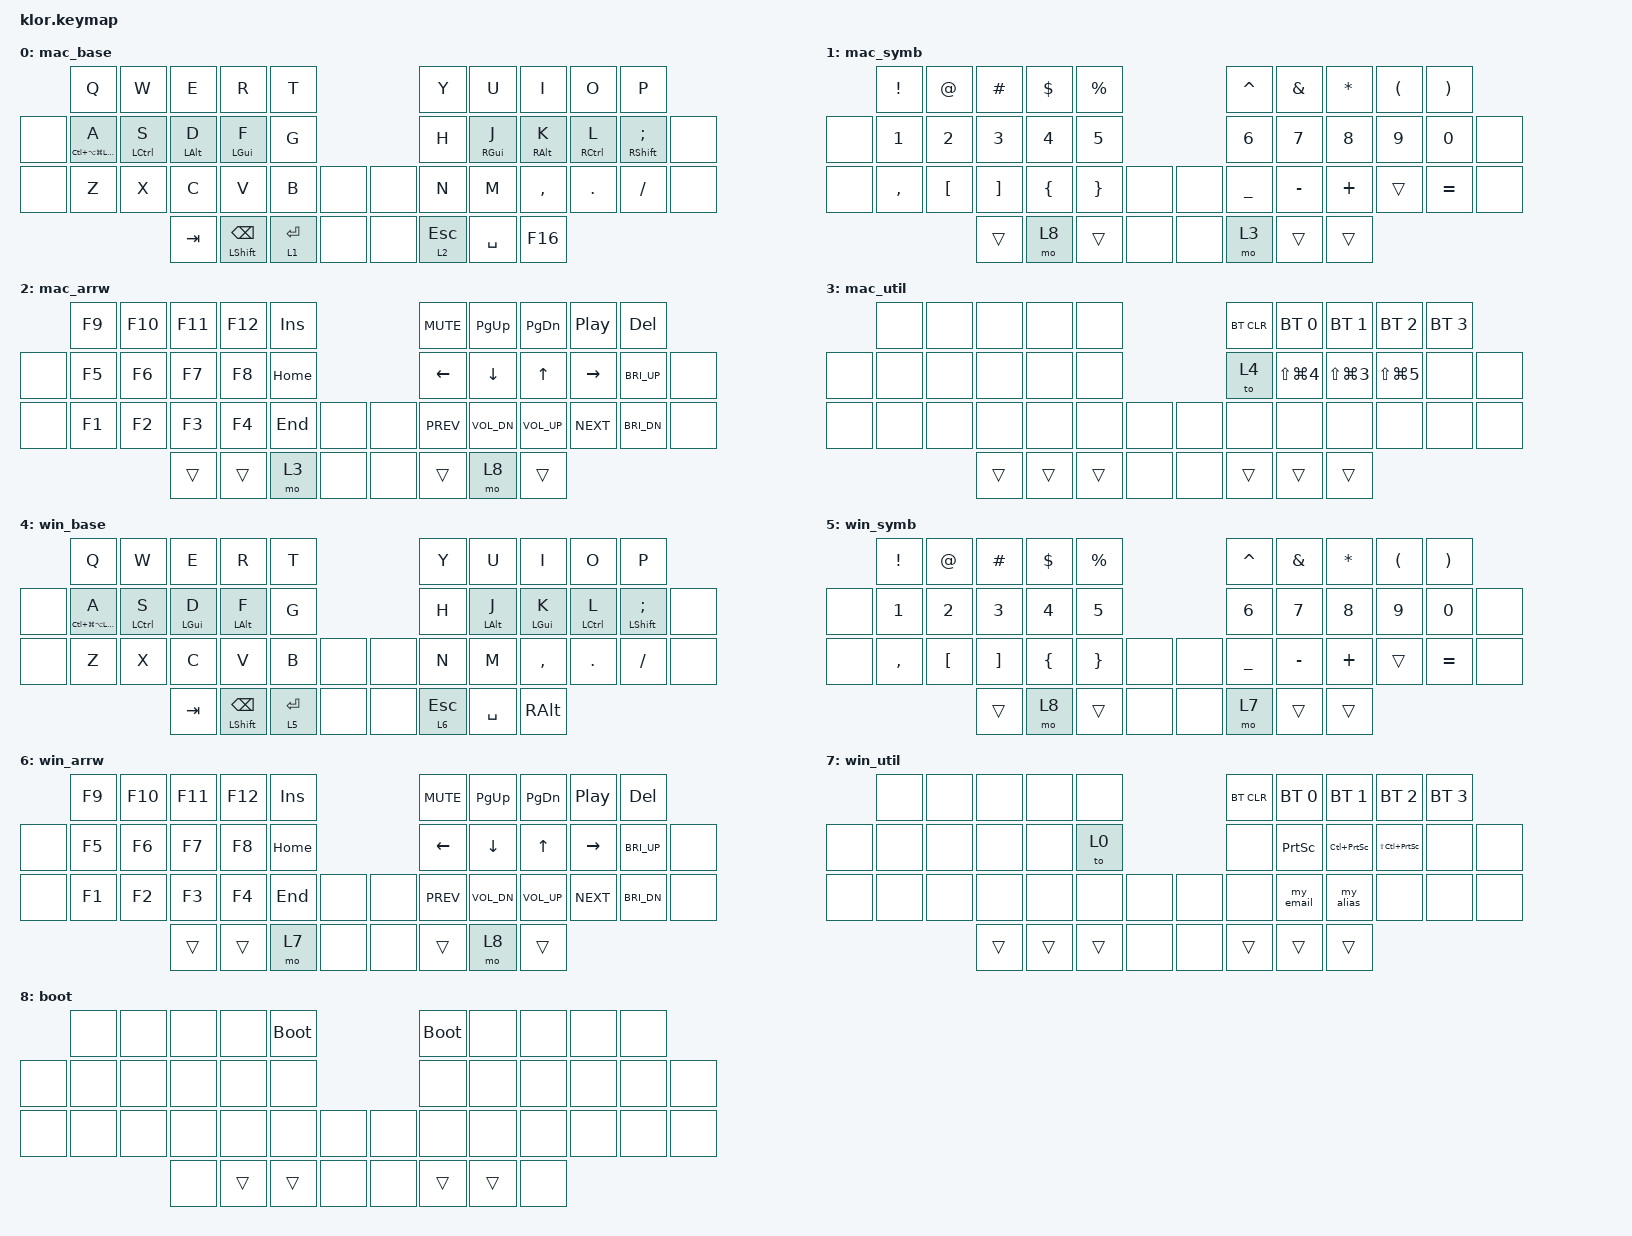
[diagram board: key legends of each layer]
//                               █         █    █            ▄▄▄▀▀▀▀▀▀▄▄▄        █▀▀▀▀▀▀▀▀▀▀█
//                               █        █     █          ▄▀            ▀▄      █          █
//                               █       █      █        ▄▀                ▀▄    █          █
//                               █      █       █        █                  █    █          █
//                               █     █        █       █                    █   █          █
//                               █    █         █       █                    █   █▄▄▄▄▄▄▄▄▄▄█
//                               █   █ █        █       █                    █   █      █
//                               █  █   █       █        █                  █    █       █
//                               █ █     █      █        ▀▄                ▄▀    █        █
//                               ██       █     █          ▀▄            ▄▀      █         █
//                               █         █    █▄▄▄▄▄▄▄▄    ▀▀▀▄▄▄▄▄▄▀▀▀        █          █
//
// ▄▄▄▄▄▄▄▄▄▄▄▄▄▄▄▄▄▄▄▄▄▄▄▄▄▄▄▄▄▄▄▄▄▄▄▄▄▄▄▄▄▄▄▄▄▄▄▄▄▄▄▄▄▄▄▄▄▄▄▄▄▄▄▄▄▄▄▄▄▄▄▄▄▄▄▄▄▄▄▄▄▄▄▄▄▄▄▄▄▄▄▄▄▄▄▄▄▄▄▄▄▄▄▄▄▄▄▄▄▄▄▄▄▄▄▄▄▄▄▄▄▄▄▄▄

#include <behaviors.dtsi>
#include <dt-bindings/zmk/bt.h>
#include <dt-bindings/zmk/keys.h>

//     0  1  2  3  4          5  6  7  8  9
// 10 11 12 13 14 15         16 17 18 19 20 21
// 22 23 24 25 26 27 28   29 30 31 32 33 34 35
//          36 37 38 39   40 41 42 43

&lt {
    tapping-term-ms = <180>;
    quick-tap-ms = <170>;
    flavor = "hold-preferred";
};

&mt {
    tapping-term-ms = <180>;
    quick-tap-ms = <170>;
};

/ {
    combos {
        compatible = "zmk,combos";

        mac_cut {
            bindings = <&kp LG(X)>;
            key-positions = <24 26>;
            timeout-ms = <20>;
            require-prior-idle-ms = <150>;
            layers = <0>;
        };

        mac_copy {
            bindings = <&kp LG(C)>;
            key-positions = <24 25>;
            timeout-ms = <20>;
            require-prior-idle-ms = <150>;
            layers = <0>;
        };

        mac_paste {
            bindings = <&kp LG(V)>;
            key-positions = <25 26>;
            timeout-ms = <20>;
            require-prior-idle-ms = <150>;
            layers = <0>;
        };

        mac_undo {
            bindings = <&kp LG(Z)>;
            key-positions = <23 24>;
            timeout-ms = <20>;
            require-prior-idle-ms = <150>;
            layers = <0>;
        };

        win_cut {
            bindings = <&kp LC(X)>;
            key-positions = <24 26>;
            timeout-ms = <20>;
            require-prior-idle-ms = <150>;
            layers = <4>;
        };

        win_copy {
            bindings = <&kp LC(C)>;
            key-positions = <24 25>;
            timeout-ms = <20>;
            require-prior-idle-ms = <150>;
            layers = <4>;
        };

        win_paste {
            bindings = <&kp LC(V)>;
            key-positions = <25 26>;
            timeout-ms = <20>;
            require-prior-idle-ms = <150>;
            layers = <4>;
        };

        win_undo {
            bindings = <&kp LC(Z)>;
            key-positions = <23 24>;
            timeout-ms = <20>;
            require-prior-idle-ms = <150>;
            layers = <4>;
        };

        sqt {
            bindings = <&kp SQT>;
            key-positions = <17 18>;
            timeout-ms = <20>;
            require-prior-idle-ms = <150>;
            layers = <0 4>;
        };

        minus {
            bindings = <&kp MINUS>;
            key-positions = <18 19>;
            timeout-ms = <20>;
            require-prior-idle-ms = <150>;
            layers = <0 4>;
        };

        grave {
            bindings = <&kp GRAVE>;
            key-positions = <31 32>;
            timeout-ms = <20>;
            require-prior-idle-ms = <150>;
            layers = <0 4>;
        };

        bslh {
            bindings = <&kp BSLH>;
            key-positions = <32 33>;
            timeout-ms = <20>;
            require-prior-idle-ms = <150>;
            layers = <0 4>;
        };

        lt {
            bindings = <&kp LT>;
            key-positions = <31 32>;
            timeout-ms = <20>;
            require-prior-idle-ms = <150>;
            layers = <1 5>;
        };

        gt {
            bindings = <&kp GT>;
            key-positions = <32 33>;
            timeout-ms = <20>;
            require-prior-idle-ms = <150>;
            layers = <1 5>;
        };

        youtube_speed_down {
            bindings = <&youtube_speed_down>;
            key-positions = <12 13 >;
            timeout-ms = <20>;
            require-prior-idle-ms = <150>;
            layers = <0 4>;
        };

        youtube_speed_up {
            bindings = <&youtube_speed_up>;
            key-positions = <13 14>;
            timeout-ms = <20>;
            require-prior-idle-ms = <150>;
            layers = <0 4>;
        };
    };

    macros {
        my_email: my_email {
            compatible = "zmk,behavior-macro";
            #binding-cells = <0>;
            bindings = <&kp B &kp L &kp A &kp C &kp K &kp E &kp A &kp G &kp L &kp E &kp N1 &kp N0 &kp AT &kp I &kp C &kp L &kp O &kp U &kp D &kp DOT &kp C &kp O &kp M>;
        };

        my_alias: my_alias {
            compatible = "zmk,behavior-macro";
            #binding-cells = <0>;
            bindings = <&kp LS(U) &kp N &kp LS(E) &kp M &kp O &kp T &kp I &kp O &kp N &kp E &kp LS(D)>;
        };

        youtube_speed_down: youtube_speed_down {
            compatible = "zmk,behavior-macro";
            #binding-cells = <0>;
            bindings = <&kp I &kp LT &kp LT &kp LT &kp LT &kp ESC>;
        };

        youtube_speed_up: youtube_speed_up {
            compatible = "zmk,behavior-macro";
            #binding-cells = <0>;
            bindings = <&kp I &kp GT &kp GT &kp GT &kp GT &kp ESC>;
        };
    };

    behaviors {
        hrm_l: hrm_l {
            compatible = "zmk,behavior-hold-tap";
            bindings = <&kp>, <&kp>;

            #binding-cells = <2>;
            tapping-term-ms = <180>;
            quick-tap-ms = <170>;
            flavor = "tap-preferred";
            hold-trigger-key-positions = <5 6 7 8 9 11 12 13 14 16 17 18 19 20 30 31 32 33 34 36 37 38 41 42 43>;
        };

        hrm_r: hrm_r {
            compatible = "zmk,behavior-hold-tap";
            bindings = <&kp>, <&kp>;

            #binding-cells = <2>;
            tapping-term-ms = <180>;
            quick-tap-ms = <170>;
            flavor = "tap-preferred";
            hold-trigger-key-positions = <0 1 2 3 4 11 12 13 14 15 17 18 19 20 23 24 25 26 27 36 37 38>;
        };
    };

    keymap {
        compatible = "zmk,keymap";

        mac_base {
            bindings = <
       &kp Q                       &kp W           &kp E          &kp R           &kp T                        &kp Y      &kp U          &kp I          &kp O           &kp P
&none  &hrm_l LC(LA(LG(LSHFT))) A  &hrm_l LCTRL S  &hrm_l LALT D  &hrm_l LGUI F   &kp G                        &kp H      &hrm_r RGUI J  &hrm_r RALT K  &hrm_r RCTRL L  &hrm_r RSHFT SEMI  &none
&none  &kp Z                       &kp X           &kp C          &kp V           &kp B        &none    &none  &kp N      &kp M          &kp COMMA      &kp DOT         &kp FSLH           &none
                                                   &kp TAB        &mt LSHFT BSPC  &lt 1 ENTER  &none    &none  &lt 2 ESC  &kp SPACE      &kp F16
            >;
        };

        mac_symb {
            bindings = <
       &kp EXCL   &kp AT    &kp HASH  &kp DLLR  &kp PRCNT                  &kp CARET  &kp AMPS   &kp ASTRK  &kp LPAR  &kp RPAR
&none  &kp N1     &kp N2    &kp N3    &kp N4    &kp N5                     &kp N6     &kp N7     &kp N8     &kp N9    &kp N0     &none
&none  &kp COMMA  &kp LBKT  &kp RBKT  &kp LBRC  &kp RBRC   &none    &none  &kp UNDER  &kp MINUS  &kp PLUS   &trans    &kp EQUAL  &none
                            &trans    &mo 8     &trans     &none    &none  &mo 3      &trans     &trans
            >;
        };

        mac_arrw {
            bindings = <
       &kp F9  &kp F10  &kp F11  &kp F12  &kp INS                   &kp C_MUTE  &kp PG_UP     &kp PG_DN     &kp C_PP    &kp DEL
&none  &kp F5  &kp F6   &kp F7   &kp F8   &kp HOME                  &kp LEFT    &kp DOWN      &kp UP        &kp RIGHT   &kp C_BRI_UP  &none
&none  &kp F1  &kp F2   &kp F3   &kp F4   &kp END   &none    &none  &kp C_PREV  &kp C_VOL_DN  &kp C_VOL_UP  &kp C_NEXT  &kp C_BRI_DN  &none
                        &trans   &trans   &mo 3     &none    &none  &trans      &mo 8         &trans
            >;
        };

        mac_util {
            bindings = <
       &none  &none  &none  &none  &none                   &bt BT_CLR  &bt BT_SEL 0    &bt BT_SEL 1    &bt BT_SEL 2    &bt BT_SEL 3
&none  &none  &none  &none  &none  &none                   &to 4       &kp LS(LG(N4))  &kp LS(LG(N3))  &kp LS(LG(N5))  &none         &none
&none  &none  &none  &none  &none  &none   &none    &none  &none       &none           &none           &none           &none         &none
                     &trans &trans &trans  &none    &none  &trans      &trans          &trans
            >;
        };

        win_base {
            bindings = <
       &kp Q                       &kp W           &kp E          &kp R           &kp T                        &kp Y      &kp U          &kp I          &kp O           &kp P
&none  &hrm_r LC(LG(LA(LSHFT))) A  &hrm_l LCTRL S  &hrm_l LGUI D  &hrm_l LALT F   &kp G                        &kp H      &hrm_r LALT J  &hrm_r LGUI K  &hrm_r LCTRL L  &hrm_r LSHFT SEMI  &none
&none  &kp Z                       &kp X           &kp C          &kp V           &kp B        &none    &none  &kp N      &kp M          &kp COMMA      &kp DOT         &kp FSLH           &none
                                                   &kp TAB        &mt LSHFT BSPC  &lt 5 ENTER  &none    &none  &lt 6 ESC  &kp SPACE      &kp RALT
            >;
        };

        win_symb {
            bindings = <
       &kp EXCL   &kp AT    &kp HASH  &kp DLLR  &kp PRCNT                  &kp CARET  &kp AMPS   &kp ASTRK  &kp LPAR  &kp RPAR
&none  &kp N1     &kp N2    &kp N3    &kp N4    &kp N5                     &kp N6     &kp N7     &kp N8     &kp N9    &kp N0     &none
&none  &kp COMMA  &kp LBKT  &kp RBKT  &kp LBRC  &kp RBRC   &none    &none  &kp UNDER  &kp MINUS  &kp PLUS   &trans    &kp EQUAL  &none
                            &trans    &mo 8     &trans     &none    &none  &mo 7      &trans     &trans
            >;
        };

        win_arrw {
            bindings = <
       &kp F9  &kp F10  &kp F11  &kp F12  &kp INS                   &kp C_MUTE  &kp PG_UP     &kp PG_DN     &kp C_PP    &kp DEL
&none  &kp F5  &kp F6   &kp F7   &kp F8   &kp HOME                  &kp LEFT    &kp DOWN      &kp UP        &kp RIGHT   &kp C_BRI_UP  &none
&none  &kp F1  &kp F2   &kp F3   &kp F4   &kp END   &none    &none  &kp C_PREV  &kp C_VOL_DN  &kp C_VOL_UP  &kp C_NEXT  &kp C_BRI_DN  &none
                        &trans   &trans   &mo 7     &none    &none  &trans      &mo 8         &trans
            >;
        };

        win_util {
            bindings = <
       &none  &none  &none  &none  &none                   &bt BT_CLR  &bt BT_SEL 0     &bt BT_SEL 1         &bt BT_SEL 2             &bt BT_SEL 3
&none  &none  &none  &none  &none  &to 0                   &none       &kp PRINTSCREEN  &kp LC(PRINTSCREEN)  &kp LS(LC(PRINTSCREEN))  &none         &none
&none  &none  &none  &none  &none  &none   &none    &none  &none       &my_email        &my_alias            &none                    &none         &none
                     &trans &trans &trans  &none    &none  &trans      &trans           &trans
            >;
        };

        boot {
            bindings = <
       &none  &none  &none  &none   &bootloader                  &bootloader  &none   &none  &none  &none
&none  &none  &none  &none  &none   &none                        &none        &none   &none  &none  &none  &none
&none  &none  &none  &none  &none   &none        &none    &none  &none        &none   &none  &none  &none  &none
                     &none  &trans  &trans       &none    &none  &trans       &trans  &none
            >;
        };
    };
};
